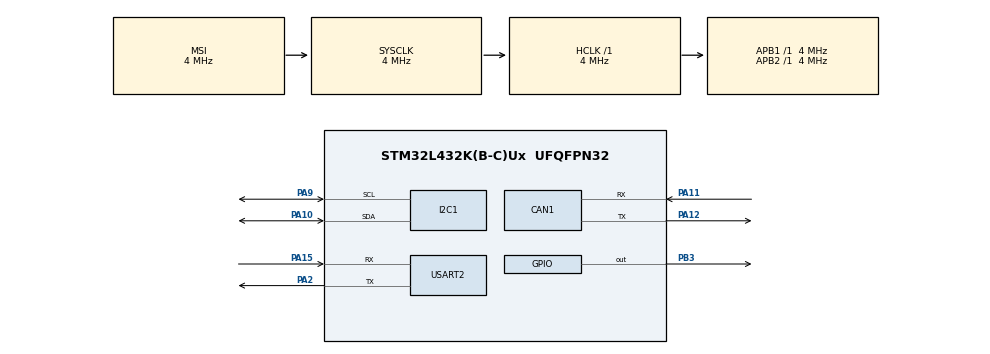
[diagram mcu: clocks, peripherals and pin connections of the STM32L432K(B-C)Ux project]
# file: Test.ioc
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CAN1.CalculateTimeQuantum=4000.0
Mcu.Family=STM32L4
Mcu.Name=STM32L432K(B-C)Ux
Mcu.Package=UFQFPN32
NVIC.PriorityGroup=NVIC_PRIORITYGROUP_4
PA10.Mode=I2C
PA10.Signal=I2C1_SDA
PA11.Mode=Master
PA11.Signal=CAN1_RX
PA12.Mode=Master
PA12.Signal=CAN1_TX
PA15\ (JTDI).Mode=Asynchronous
PA15\ (JTDI).Signal=USART2_RX
PA2.Mode=Asynchronous
PA2.Signal=USART2_TX
PA9.Mode=I2C
PA9.Signal=I2C1_SCL
PB3\ (JTDO-TRACESWO).Signal=GPIO_Output
ProjectManager.HeapSize=0x200
ProjectManager.StackSize=0x400
ProjectManager.TargetToolchain=Makefile
RCC.AHBFreq_Value=4000000
RCC.APB1Freq_Value=4000000
RCC.APB1TimFreq_Value=4000000
RCC.APB2Freq_Value=4000000
RCC.APB2TimFreq_Value=4000000
RCC.CortexFreq_Value=4000000
RCC.HCLKFreq_Value=4000000
RCC.HSE_VALUE=8000000
RCC.HSI48_VALUE=48000000
RCC.HSI_VALUE=16000000
RCC.LSE_VALUE=32768
RCC.MSI_VALUE=4000000
RCC.SYSCLKFreq_VALUE=4000000
RCC.VCOOutputFreq_Value=32000000
USART2.VirtualMode-Asynchronous=VM_ASYNC
board=custom

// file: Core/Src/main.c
/* USER CODE BEGIN Header */
/**
  ******************************************************************************
  * @file           : main.c
  * @brief          : Main program body
  ******************************************************************************
  * @attention
  *
  * <h2><center>&copy; Copyright (c) 2020 STMicroelectronics.
  * All rights reserved.</center></h2>
  *
  * This software component is licensed by ST under BSD 3-Clause license,
  * the "License"; You may not use this file except in compliance with the
  * License. You may obtain a copy of the License at:
  *                        opensource.org/licenses/BSD-3-Clause
  *
  ******************************************************************************
  */
/* USER CODE END Header */
#include "main.h"

CAN_HandleTypeDef hcan1;

I2C_HandleTypeDef hi2c1;

UART_HandleTypeDef huart2;

void SystemClock_Config(void);
static void MX_GPIO_Init(void);
static void MX_CAN1_Init(void);
static void MX_I2C1_Init(void);
static void MX_USART2_UART_Init(void);

#define ACCEL_ADDR (0x68 << 1)

int main(void)
{

  /* MCU Configuration--------------------------------------------------------*/

  /* Reset of all peripherals, Initializes the Flash interface and the Systick. */
  HAL_Init();

  /* Configure the system clock */
  SystemClock_Config();

  /* Initialize all configured peripherals */
  MX_GPIO_Init();
  MX_CAN1_Init();
  MX_I2C1_Init();
  MX_USART2_UART_Init();

  /* Infinite loop */
  /* USER CODE BEGIN WHILE */
  HAL_Delay(1000);
  HAL_UART_Transmit(&huart2, "start\n", 6, 0xFFFF);
  if(HAL_I2C_Master_Transmit(&hi2c1, ACCEL_ADDR, (char[]){0x6B, 0x00}, 2, HAL_MAX_DELAY) != HAL_OK) {
  	HAL_UART_Transmit(&huart2, "error1\n", 7, 0xFFFF);
  }
  HAL_Delay(100);
  if(HAL_I2C_Master_Transmit(&hi2c1, ACCEL_ADDR, (char[]){0x1B, 0x18}, 2, HAL_MAX_DELAY) != HAL_OK) {
  	HAL_UART_Transmit(&huart2, "error2\n", 7, 0xFFFF);
  }
  HAL_Delay(100);
  if(HAL_I2C_Master_Transmit(&hi2c1, ACCEL_ADDR, (char[]){0x1C, 0x01}, 2, HAL_MAX_DELAY) != HAL_OK) {
  	HAL_UART_Transmit(&huart2, "error3\n", 7, 0xFFFF);
  }
  HAL_Delay(100);

  uint8_t buf[14];
  char str[128];

  for(int i = 0; i <= 127; ++i) {

  	  if(HAL_I2C_Master_Transmit(&hi2c1, i << 1, NULL, 0, HAL_MAX_DELAY) == HAL_OK) {
		sprintf(str, "%02x ", i);
  		HAL_UART_Transmit(&huart2, str, strlen(str), 0xFFFF);
	  } else {
  		HAL_UART_Transmit(&huart2, "-- ", 3, 0xFFFF);
	  }

	  if(i % 16 == 15) {
  		HAL_UART_Transmit(&huart2, "\n", 1, 0xFFFF);
	  }
  }

  HAL_UART_Transmit(&huart2, "Sleeping for 5s\n", 16, 0xFFFF);

  HAL_Delay(5000);

  while (1)
  {
  	  if(HAL_I2C_Master_Transmit(&hi2c1, ACCEL_ADDR, (char[]){0x3b}, 1, HAL_MAX_DELAY) != HAL_OK) {
  		HAL_UART_Transmit(&huart2, "error4\n", 7, 0xFFFF);
	  }
	  if(HAL_I2C_Master_Receive(&hi2c1, ACCEL_ADDR, buf, 14, HAL_MAX_DELAY) != HAL_OK) {
  		HAL_UART_Transmit(&huart2, "error5\n", 7, 0xFFFF);
	  }
	  int16_t xa = buf[0] << 8 | buf[1];
	  int16_t ya = buf[2] << 8 | buf[3];
	  int16_t za = buf[4] << 8 | buf[5];

	  // Raw Input - Temperature
	  int16_t te = buf[6] << 8 | buf[7];

	  // Raw Input - Gyroscope
	  int16_t xg = buf[8] << 8 | buf[9];
	  int16_t yg = buf[10] << 8 | buf[11];
	  int16_t zg = buf[12] << 8 | buf[13];

	  sprintf(str, "a(%+6d %+6d %+6d) t(%+6d) g(%+6d %+6d %+6d)\n", xa, ya, za, te, xg, yg, zg);
	  int len = strlen(str);
  	  HAL_UART_Transmit(&huart2, str, len, 0xFFFF);

	  HAL_GPIO_TogglePin(GPIOB, GPIO_PIN_3);
	  HAL_Delay(100);
    /* USER CODE END WHILE */

  }
}

void SystemClock_Config(void)
{
  RCC_OscInitTypeDef RCC_OscInitStruct = {0};
  RCC_ClkInitTypeDef RCC_ClkInitStruct = {0};
  RCC_PeriphCLKInitTypeDef PeriphClkInit = {0};

  /** Initializes the RCC Oscillators according to the specified parameters
  * in the RCC_OscInitTypeDef structure.
  */
  RCC_OscInitStruct.OscillatorType = RCC_OSCILLATORTYPE_MSI;
  RCC_OscInitStruct.MSIState = RCC_MSI_ON;
  RCC_OscInitStruct.MSICalibrationValue = 0;
  RCC_OscInitStruct.MSIClockRange = RCC_MSIRANGE_6;
  RCC_OscInitStruct.PLL.PLLState = RCC_PLL_NONE;
  if (HAL_RCC_OscConfig(&RCC_OscInitStruct) != HAL_OK)
  {
    Error_Handler();
  }
  /** Initializes the CPU, AHB and APB buses clocks
  */
  RCC_ClkInitStruct.ClockType = RCC_CLOCKTYPE_HCLK|RCC_CLOCKTYPE_SYSCLK
                              |RCC_CLOCKTYPE_PCLK1|RCC_CLOCKTYPE_PCLK2;
  RCC_ClkInitStruct.SYSCLKSource = RCC_SYSCLKSOURCE_MSI;
  RCC_ClkInitStruct.AHBCLKDivider = RCC_SYSCLK_DIV1;
  RCC_ClkInitStruct.APB1CLKDivider = RCC_HCLK_DIV1;
  RCC_ClkInitStruct.APB2CLKDivider = RCC_HCLK_DIV1;

  if (HAL_RCC_ClockConfig(&RCC_ClkInitStruct, FLASH_LATENCY_0) != HAL_OK)
  {
    Error_Handler();
  }
  PeriphClkInit.PeriphClockSelection = RCC_PERIPHCLK_USART2|RCC_PERIPHCLK_I2C1;
  PeriphClkInit.Usart2ClockSelection = RCC_USART2CLKSOURCE_PCLK1;
  PeriphClkInit.I2c1ClockSelection = RCC_I2C1CLKSOURCE_PCLK1;
  if (HAL_RCCEx_PeriphCLKConfig(&PeriphClkInit) != HAL_OK)
  {
    Error_Handler();
  }
  /** Configure the main internal regulator output voltage
  */
  if (HAL_PWREx_ControlVoltageScaling(PWR_REGULATOR_VOLTAGE_SCALE1) != HAL_OK)
  {
    Error_Handler();
  }
}

static void MX_CAN1_Init(void)
{

  hcan1.Instance = CAN1;
  hcan1.Init.Prescaler = 16;
  hcan1.Init.Mode = CAN_MODE_NORMAL;
  hcan1.Init.SyncJumpWidth = CAN_SJW_1TQ;
  hcan1.Init.TimeSeg1 = CAN_BS1_1TQ;
  hcan1.Init.TimeSeg2 = CAN_BS2_1TQ;
  hcan1.Init.TimeTriggeredMode = DISABLE;
  hcan1.Init.AutoBusOff = DISABLE;
  hcan1.Init.AutoWakeUp = DISABLE;
  hcan1.Init.AutoRetransmission = DISABLE;
  hcan1.Init.ReceiveFifoLocked = DISABLE;
  hcan1.Init.TransmitFifoPriority = DISABLE;
  if (HAL_CAN_Init(&hcan1) != HAL_OK)
  {
    Error_Handler();
  }

}

static void MX_I2C1_Init(void)
{

  hi2c1.Instance = I2C1;
  hi2c1.Init.Timing = 0x00000E14;
  hi2c1.Init.OwnAddress1 = 0;
  hi2c1.Init.AddressingMode = I2C_ADDRESSINGMODE_7BIT;
  hi2c1.Init.DualAddressMode = I2C_DUALADDRESS_DISABLE;
  hi2c1.Init.OwnAddress2 = 0;
  hi2c1.Init.OwnAddress2Masks = I2C_OA2_NOMASK;
  hi2c1.Init.GeneralCallMode = I2C_GENERALCALL_DISABLE;
  hi2c1.Init.NoStretchMode = I2C_NOSTRETCH_DISABLE;
  if (HAL_I2C_Init(&hi2c1) != HAL_OK)
  {
    Error_Handler();
  }
  /** Configure Analogue filter
  */
  if (HAL_I2CEx_ConfigAnalogFilter(&hi2c1, I2C_ANALOGFILTER_ENABLE) != HAL_OK)
  {
    Error_Handler();
  }
  /** Configure Digital filter
  */
  if (HAL_I2CEx_ConfigDigitalFilter(&hi2c1, 0) != HAL_OK)
  {
    Error_Handler();
  }

}

static void MX_USART2_UART_Init(void)
{

  huart2.Instance = USART2;
  huart2.Init.BaudRate = 115200;
  huart2.Init.WordLength = UART_WORDLENGTH_8B;
  huart2.Init.StopBits = UART_STOPBITS_1;
  huart2.Init.Parity = UART_PARITY_NONE;
  huart2.Init.Mode = UART_MODE_TX_RX;
  huart2.Init.HwFlowCtl = UART_HWCONTROL_NONE;
  huart2.Init.OverSampling = UART_OVERSAMPLING_16;
  huart2.Init.OneBitSampling = UART_ONE_BIT_SAMPLE_DISABLE;
  huart2.AdvancedInit.AdvFeatureInit = UART_ADVFEATURE_NO_INIT;
  if (HAL_UART_Init(&huart2) != HAL_OK)
  {
    Error_Handler();
  }

}

static void MX_GPIO_Init(void)
{
  GPIO_InitTypeDef GPIO_InitStruct = {0};

  /* GPIO Ports Clock Enable */
  __HAL_RCC_GPIOA_CLK_ENABLE();
  __HAL_RCC_GPIOB_CLK_ENABLE();

  /*Configure GPIO pin Output Level */
  HAL_GPIO_WritePin(GPIOB, GPIO_PIN_3, GPIO_PIN_RESET);

  /*Configure GPIO pin : PB3 */
  GPIO_InitStruct.Pin = GPIO_PIN_3;
  GPIO_InitStruct.Mode = GPIO_MODE_OUTPUT_PP;
  GPIO_InitStruct.Pull = GPIO_NOPULL;
  GPIO_InitStruct.Speed = GPIO_SPEED_FREQ_LOW;
  HAL_GPIO_Init(GPIOB, &GPIO_InitStruct);

}

void Error_Handler(void)
{
}

/************************ (C) COPYRIGHT STMicroelectronics *****END OF FILE****/
